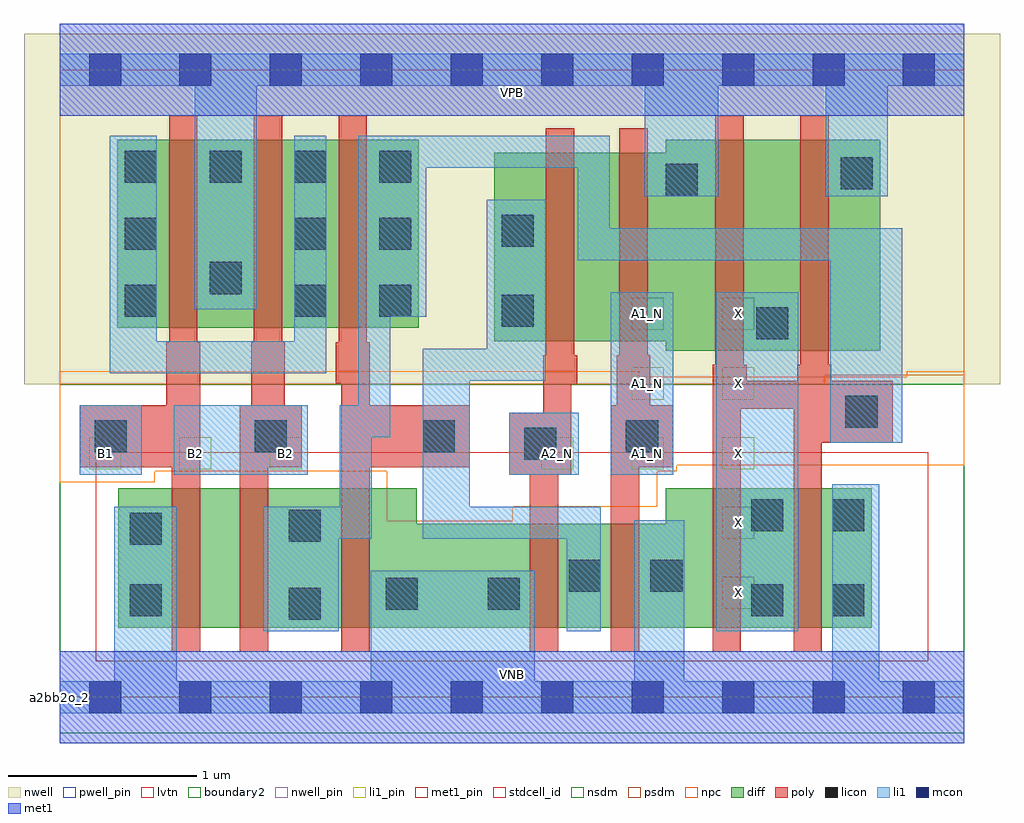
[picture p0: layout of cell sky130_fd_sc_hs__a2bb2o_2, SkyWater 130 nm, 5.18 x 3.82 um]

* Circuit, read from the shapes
.subckt sky130_fd_sc_hs__a2bb2o_2 A1_N A2_N B1 B2 VGND VNB VPB VPWR X
XM1 n1 B1 VGND VNB sky130_fd_pr__nfet_01v8_lvt w=0.74 l=0.15
XM2 n2 B2 n1 VNB sky130_fd_pr__nfet_01v8_lvt w=0.74 l=0.15
XM3 VGND n3 n2 VNB sky130_fd_pr__nfet_01v8_lvt w=0.74 l=0.15
XM4 n3 A2_N VGND VNB sky130_fd_pr__nfet_01v8_lvt w=0.55 l=0.15
XM5 VGND A1_N n3 VNB sky130_fd_pr__nfet_01v8_lvt w=0.55 l=0.15
XM6 X n2 VGND VNB sky130_fd_pr__nfet_01v8_lvt w=0.74 l=0.15 m=2
XM7 VPWR B1 n4 VPB sky130_fd_pr__pfet_01v8 w=1 l=0.15
XM8 n4 B2 VPWR VPB sky130_fd_pr__pfet_01v8 w=1 l=0.15
XM9 n2 n3 n4 VPB sky130_fd_pr__pfet_01v8 w=1 l=0.15
XM10 n5 A2_N n3 VPB sky130_fd_pr__pfet_01v8 w=1 l=0.15
XM11 VPWR A1_N n5 VPB sky130_fd_pr__pfet_01v8 w=1 l=0.15
XM12 X n2 VPWR VPB sky130_fd_pr__pfet_01v8 w=1.12 l=0.15 m=2
.ends

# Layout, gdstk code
import gdstk
lib = gdstk.Library(unit=1e-6, precision=1e-09)
def R(c, l, rs):  # rectangles x0, y0, x1, y1
    for r in rs: c.add(gdstk.rectangle(r[:2], r[2:], *l))
def A(c, l, x, y, w, h, nx, ny, dx, dy):  # array of equal rectangles
    R(c, l, [(x+i*dx, y+j*dy, x+i*dx+w, y+j*dy+h) for i in range(nx) for j in range(ny)])
def P(c, l, *ps):  # polygons
    for p in ps: c.add(gdstk.Polygon(p, *l))
nwell_pin = (64, 16)
nwell = (64, 20)
diff = (65, 20)
poly = (66, 20)
licon = (66, 44)
li1_pin = (67, 16)
li1 = (67, 20)
mcon = (67, 44)
met1_pin = (68, 16)
met1 = (68, 20)
stdcell_id = (81, 4)
nsdm = (93, 44)
psdm = (94, 20)
npc = (95, 20)
pwell_pin = (122, 16)
lvtn = (125, 44)
boundary2 = (236, 0)

sky130_fd_sc_hs__a2bb2o_ = lib.new_cell('sky130_fd_sc_hs__a2bb2o_2')
R(sky130_fd_sc_hs__a2bb2o_, nwell_pin, [(0,3.085,4.8,3.33)])
R(sky130_fd_sc_hs__a2bb2o_, nwell, [(-0.19,1.66,4.99,3.52)])
R(sky130_fd_sc_hs__a2bb2o_, diff, [(0.305,1.96,1.905,2.96)])
P(sky130_fd_sc_hs__a2bb2o_, diff, [(4.31,1.11),(3.215,1.11),(3.215,0.92),(1.895,0.92),(1.895,1.11),(0.31,1.11),(0.31,0.37),(4.31,0.37)],
  [(4.355,2.96),(3.215,2.96),(3.215,2.89),(2.305,2.89),(2.305,1.89),(3.215,1.89),(3.215,1.84),(4.355,1.84)])
P(sky130_fd_sc_hs__a2bb2o_, poly, [(4.42,1.68),(4.095,1.68),(4.095,1.765),(4.08,1.765),(4.08,3.09),(3.93,3.09),(3.93,1.765),(3.915,1.765),(3.915,1.68),(3.645,1.68),(3.645,1.765),(3.63,1.765),(3.63,3.09),(3.48,3.09),(3.48,1.765),(3.465,1.765),(3.465,0.24),(3.615,0.24),(3.615,1.53),(3.895,1.53),(3.895,0.24),(4.045,0.24),(4.045,1.35),(4.42,1.35)],
  [(3.255,1.55),(3.135,1.55),(3.135,1.815),(3.12,1.815),(3.12,3.02),(2.97,3.02),(2.97,1.815),(2.955,1.815),(2.955,1.55),(2.925,1.55),(2.925,0.24),(3.075,0.24),(3.075,1.22),(3.255,1.22)],
  [(2.745,1.815),(2.73,1.815),(2.73,3.02),(2.58,3.02),(2.58,1.815),(2.565,1.815),(2.565,1.51),(2.385,1.51),(2.385,1.18),(2.495,1.18),(2.495,0.24),(2.645,0.24),(2.645,1.18),(2.715,1.18),(2.715,1.66),(2.745,1.66)],
  [(2.175,1.55),(1.645,1.55),(1.645,1.885),(1.63,1.885),(1.63,3.09),(1.48,3.09),(1.48,1.885),(1.465,1.885),(1.465,1.665),(1.495,1.665),(1.495,0.24),(1.645,0.24),(1.645,1.22),(2.175,1.22)],
  [(1.285,1.55),(1.195,1.55),(1.195,1.885),(1.18,1.885),(1.18,3.09),(1.03,3.09),(1.03,1.885),(1.015,1.885),(1.015,1.55),(0.955,1.55),(0.955,0.24),(1.105,0.24),(1.105,1.22),(1.285,1.22)],
  [(0.745,1.885),(0.73,1.885),(0.73,3.09),(0.58,3.09),(0.58,1.885),(0.565,1.885),(0.565,1.55),(0.105,1.55),(0.105,1.22),(0.595,1.22),(0.595,0.24),(0.745,0.24)])
A(sky130_fd_sc_hs__a2bb2o_, licon, 0.345, 2.73, 0.17, 0.17, 4, 1, 0.45, 0)
R(sky130_fd_sc_hs__a2bb2o_, licon, [(1.215,0.41,1.385,0.58), (0.37,0.43,0.54,0.6), (3.67,0.43,3.84,0.6), (4.1,0.43,4.27,0.6), (1.73,0.465,1.9,0.635), (2.27,0.465,2.44,0.635), (2.7,0.56,2.87,0.73), (3.135,0.56,3.305,0.73), (0.37,0.81,0.54,0.98), (1.215,0.825,1.385,0.995), (3.67,0.88,3.84,1.05), (4.1,0.88,4.27,1.05), (2.465,1.26,2.635,1.43), (0.185,1.3,0.355,1.47), (1.035,1.3,1.205,1.47), (1.925,1.3,2.095,1.47), (3.005,1.3,3.175,1.47), (4.17,1.43,4.34,1.6), (3.695,1.9,3.865,2.07), (2.345,1.965,2.515,2.135), (0.345,2.02,0.515,2.19), (1.245,2.02,1.415,2.19), (1.695,2.02,1.865,2.19), (0.795,2.14,0.965,2.31), (0.345,2.375,0.515,2.545), (1.245,2.375,1.415,2.545), (1.695,2.375,1.865,2.545), (2.345,2.39,2.515,2.56), (3.215,2.66,3.385,2.83), (4.145,2.695,4.315,2.865)])
A(sky130_fd_sc_hs__a2bb2o_, li1_pin, 0.155, 1.21, 0.17, 0.17, 3, 1, 0.48, 0)
A(sky130_fd_sc_hs__a2bb2o_, li1_pin, 2.555, 1.21, 0.17, 0.17, 3, 1, 0.48, 0)
R(sky130_fd_sc_hs__a2bb2o_, li1_pin, [(3.515,0.47,3.685,0.64), (3.515,0.84,3.685,1.01), (3.035,1.58,3.205,1.75), (3.515,1.58,3.685,1.75), (3.035,1.95,3.205,2.12), (3.515,1.95,3.685,2.12)])
R(sky130_fd_sc_hs__a2bb2o_, li1, [(3.485,0.35,3.92,2.15), (0.105,1.18,0.435,1.55), (0.605,1.18,1.315,1.55), (2.385,1.18,2.755,1.51), (2.925,1.18,3.255,2.15)])
P(sky130_fd_sc_hs__a2bb2o_, li1, [(4.065,2.66),(4.065,3.245),(3.495,3.245),(3.495,2.66),(3.105,2.66),(3.105,3.245),(1.045,3.245),(1.045,2.06),(0.715,2.06),(0.715,3.245),(0,3.245),(0,3.415),(4.8,3.415),(4.8,3.245),(4.395,3.245),(4.395,2.66)],
  [(0.29,0.085),(0.29,1.01),(0.62,1.01),(0.62,0.085),(1.65,0.085),(1.65,0.67),(2.52,0.67),(2.52,0.085),(3.05,0.085),(3.05,0.94),(3.315,0.94),(3.315,0.085),(4.1,0.085),(4.1,1.13),(4.35,1.13),(4.35,0.085),(4.8,0.085),(4.8,-0.085),(0,-0.085),(0,0.085)],
  [(4.47,2.49),(2.92,2.49),(2.92,2.98),(1.585,2.98),(1.585,1.55),(1.485,1.55),(1.485,1.01),(1.08,1.01),(1.08,0.35),(1.48,0.35),(1.48,0.84),(1.655,0.84),(1.655,1.38),(1.755,1.38),(1.755,2.02),(1.945,2.02),(1.945,2.81),(2.75,2.81),(2.75,2.32),(4.09,2.32),(4.09,1.35),(4.47,1.35)],
  [(1.925,0.84),(1.925,1.85),(2.265,1.85),(2.265,2.64),(2.58,2.64),(2.58,1.68),(2.175,1.68),(2.175,1.01),(2.87,1.01),(2.87,0.35),(2.69,0.35),(2.69,0.84)],
  [(0.265,1.72),(0.265,2.98),(0.515,2.98),(0.515,1.89),(1.245,1.89),(1.245,2.98),(1.415,2.98),(1.415,1.72)])
A(sky130_fd_sc_hs__a2bb2o_, mcon, 0.155, -0.085, 0.17, 0.17, 10, 2, 0.48, 3.33)
R(sky130_fd_sc_hs__a2bb2o_, met1_pin, [(0,0,4.8,0.245), (0,3.085,4.8,3.33)])
R(sky130_fd_sc_hs__a2bb2o_, met1, [(0,-0.245,4.8,0.245), (0,3.085,4.8,3.575)])
R(sky130_fd_sc_hs__a2bb2o_, stdcell_id, [(0,0,4.8,3.33)])
R(sky130_fd_sc_hs__a2bb2o_, nsdm, [(0,-0.19,4.8,1.66)])
P(sky130_fd_sc_hs__a2bb2o_, psdm, [(4.8,3.52),(0,3.52),(0,1.66),(4.06,1.66),(4.06,1.71),(4.8,1.71)])
P(sky130_fd_sc_hs__a2bb2o_, npc, [(4.8,1.73),(4.495,1.73),(4.495,1.7),(3.075,1.7),(3.075,1.73),(0,1.73),(0,1.14),(0.505,1.14),(0.505,1.2),(1.735,1.2),(1.735,0.935),(2.405,0.935),(2.405,1.01),(3.17,1.01),(3.17,1.2),(3.275,1.2),(3.275,1.23),(4.8,1.23)])
R(sky130_fd_sc_hs__a2bb2o_, pwell_pin, [(0,0,4.8,0.245)])
R(sky130_fd_sc_hs__a2bb2o_, lvtn, [(0.19,0.19,4.61,1.3)])
R(sky130_fd_sc_hs__a2bb2o_, boundary2, [(0,0,4.8,3.33)])
sky130_fd_sc_hs__a2bb2o_.add(gdstk.Label('a2bb2o_2', (0,0), layer=83, texttype=44))
sky130_fd_sc_hs__a2bb2o_.add(gdstk.Label('VNB', (2.4,0.123), layer=64, texttype=59))
sky130_fd_sc_hs__a2bb2o_.add(gdstk.Label('VPB', (2.4,3.208), layer=64, texttype=5))
sky130_fd_sc_hs__a2bb2o_.add(gdstk.Label('VPWR', (2.4,3.208), layer=68, texttype=5))
sky130_fd_sc_hs__a2bb2o_.add(gdstk.Label('VGND', (2.4,0.123), layer=68, texttype=5))
sky130_fd_sc_hs__a2bb2o_.add(gdstk.Label('B2', (0.72,1.295), layer=67, texttype=5))
sky130_fd_sc_hs__a2bb2o_.add(gdstk.Label('B2', (1.2,1.295), layer=67, texttype=5))
sky130_fd_sc_hs__a2bb2o_.add(gdstk.Label('B1', (0.24,1.295), layer=67, texttype=5))
sky130_fd_sc_hs__a2bb2o_.add(gdstk.Label('A2_N', (2.64,1.295), layer=67, texttype=5))
sky130_fd_sc_hs__a2bb2o_.add(gdstk.Label('X', (3.6,0.555), layer=67, texttype=5))
sky130_fd_sc_hs__a2bb2o_.add(gdstk.Label('X', (3.6,0.925), layer=67, texttype=5))
sky130_fd_sc_hs__a2bb2o_.add(gdstk.Label('X', (3.6,1.295), layer=67, texttype=5))
sky130_fd_sc_hs__a2bb2o_.add(gdstk.Label('X', (3.6,1.665), layer=67, texttype=5))
sky130_fd_sc_hs__a2bb2o_.add(gdstk.Label('X', (3.6,2.035), layer=67, texttype=5))
sky130_fd_sc_hs__a2bb2o_.add(gdstk.Label('A1_N', (3.12,1.295), layer=67, texttype=5))
sky130_fd_sc_hs__a2bb2o_.add(gdstk.Label('A1_N', (3.12,1.665), layer=67, texttype=5))
sky130_fd_sc_hs__a2bb2o_.add(gdstk.Label('A1_N', (3.12,2.035), layer=67, texttype=5))

lib.write_gds('sky130_fd_sc_hs__a2bb2o_2.gds')
